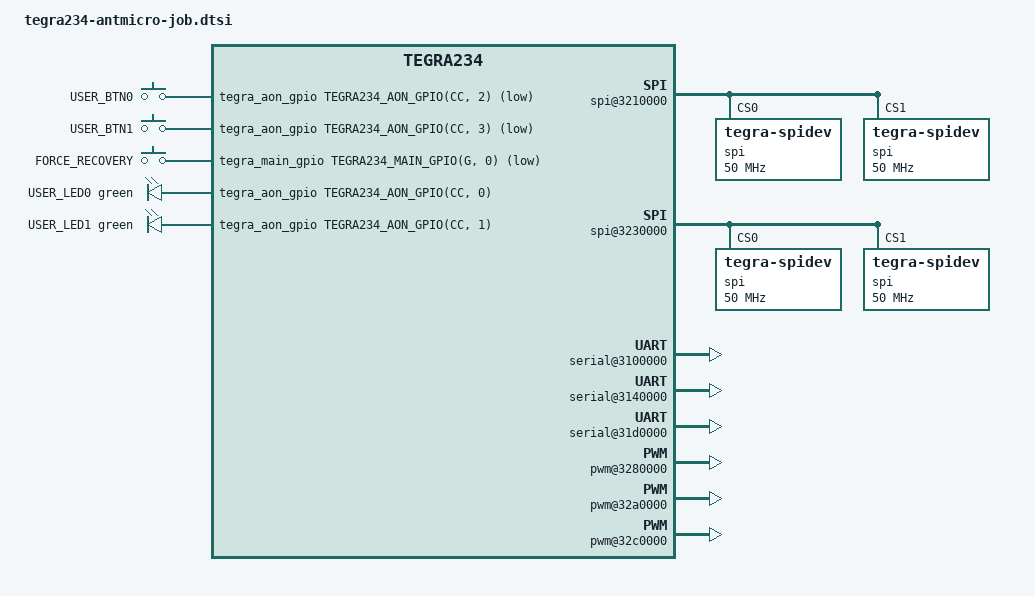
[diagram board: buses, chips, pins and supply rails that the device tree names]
/*
 * Copyright (c) 2022, NVIDIA CORPORATION.  All rights reserved.
 * Copyright (c) 2023 Antmicro <www.antmicro.com>
 *
 * This program is free software; you can redistribute it and/or modify
 * it under the terms of the GNU General Public License as published by
 * the Free Software Foundation; version 2 of the License.
 *
 * This program is distributed in the hope that it will be useful, but WITHOUT
 * ANY WARRANTY; without even the implied warranty of MERCHANTABILITY or
 * FITNESS FOR A PARTICULAR PURPOSE.  See the GNU General Public License for
 * more details.
 */

#include <dt-bindings/gpio/tegra234-gpio.h>
#include <dt-bindings/input/input.h>
#include <dt-bindings/leds/common.h>

#include "tegra234-p3509-a02-pwm-fan.dtsi"
#include "tegra234-p3509-a02-pcie.dtsi"
#include "tegra234-p3509-audio.dtsi"
#include "tegra234-antmicro-job-fixed-regulators.dtsi"
#include "tegra234-antmicro-job-i2c-buses.dtsi"
#include "tegra234-antmicro-job-gpioex.dtsi"
#include "tegra234-antmicro-job-usb.dtsi"

/* 4xOV5640 cameras */
#include "tegra234-antmicro-job-camera-ov5640.dtsi"

/ {
	gpio-keys {
		compatible = "gpio-keys";
		status = "okay";

		user_btn0 {
			label = "USER_BTN0";
			gpios = <&tegra_aon_gpio TEGRA234_AON_GPIO(CC, 2) GPIO_ACTIVE_LOW>;
			linux,code = <BTN_0>;
		};

		user_btn1 {
			label = "USER_BTN1";
			gpios = <&tegra_aon_gpio TEGRA234_AON_GPIO(CC, 3) GPIO_ACTIVE_LOW>;
			linux,code = <BTN_1>;
		};

		forcerecovery {
			label = "FORCE_RECOVERY";
			gpios = <&tegra_main_gpio TEGRA234_MAIN_GPIO(G, 0) GPIO_ACTIVE_LOW>;
			linux,code = <BTN_2>;
		};
	};

	gpio-leds {
		compatible = "gpio-leds";
		status = "okay";

		user_led0 {
			label = "USER_LED0";
			gpios = <&tegra_aon_gpio TEGRA234_AON_GPIO(CC, 0) GPIO_ACTIVE_HIGH>;
			color = <LED_COLOR_ID_GREEN>;
			function = LED_FUNCTION_INDICATOR;
			linux,default-trigger = "activity";
		};

		user_led1 {
			label = "USER_LED1";
			gpios = <&tegra_aon_gpio TEGRA234_AON_GPIO(CC, 1) GPIO_ACTIVE_HIGH>;
			color = <LED_COLOR_ID_GREEN>;
			function = LED_FUNCTION_INDICATOR;
		};
	};

	spi@3210000{ /* SPI1 in 40 pin conn */
		status = "okay";
		spi@0 { /* chip select 0 */
			compatible = "tegra-spidev";
			reg = <0x0>;
			spi-max-frequency = <50000000>;
			controller-data {
				nvidia,enable-hw-based-cs;
				nvidia,rx-clk-tap-delay = <0x10>;
				nvidia,tx-clk-tap-delay = <0x0>;
			};
		};
		spi@1 { /* chip select 1 */
			compatible = "tegra-spidev";
			reg = <0x1>;
			spi-max-frequency = <50000000>;
			controller-data {
				nvidia,enable-hw-based-cs;
				nvidia,rx-clk-tap-delay = <0x10>;
				nvidia,tx-clk-tap-delay = <0x0>;
			};
		};
	};

	spi@3230000{ /* SPI3 in 40 pin conn */
		status = "okay";
		spi@0 { /* chip select 0 */
			compatible = "tegra-spidev";
			reg = <0x0>;
			spi-max-frequency = <50000000>;
			controller-data {
				nvidia,enable-hw-based-cs;
				nvidia,rx-clk-tap-delay = <0x10>;
				nvidia,tx-clk-tap-delay = <0x0>;
			};
		};
		spi@1 { /* chips select 1 */
			compatible = "tegra-spidev";
			reg = <0x1>;
			spi-max-frequency = <50000000>;
			controller-data {
				nvidia,enable-hw-based-cs;
				nvidia,rx-clk-tap-delay = <0x10>;
				nvidia,tx-clk-tap-delay = <0x0>;
			};
		};
	};

	serial@3100000 {/* UARTA, for 40 pin header */
		status = "okay";
	};

	mttcan@c310000 {
		status = "okay";
	};

	serial@3140000 {
		/* UARTE, Goes to M2.E and also some of the pins to bootstrap */
		status = "okay";
	};

	serial@31d0000 {/* UARTI - SBSA */
		status = "okay";
	};

	tachometer@39c0000 {
		status = "okay";
		upper-threshold = <0xfffff>;
		lower-threshold = <0x0>;
	};

	pwm@3280000 {/* PWM1 40pin header, pin 15 */
		status = "okay";
	};

	pwm@32a0000 {/* PWM3 - FAN */
		status = "okay";
	};

	pwm@c340000 { /* PWM4 - OVR */
		status = "disabled";
	};

	pwm@32c0000 {/* PWM5 40 pin header, pin 33 */
		status = "okay";
	};

	pwm@32d0000 {/* PWM6 OVR */
		status = "disabled";
	};

	bluedroid_pm {
		status = "disabled";
	};

	display@13800000 {
		status = "okay";
		os_gpio_hotplug_a = <&tegra_main_gpio TEGRA234_MAIN_GPIO(M, 0) GPIO_ACTIVE_HIGH>;
	};
};
